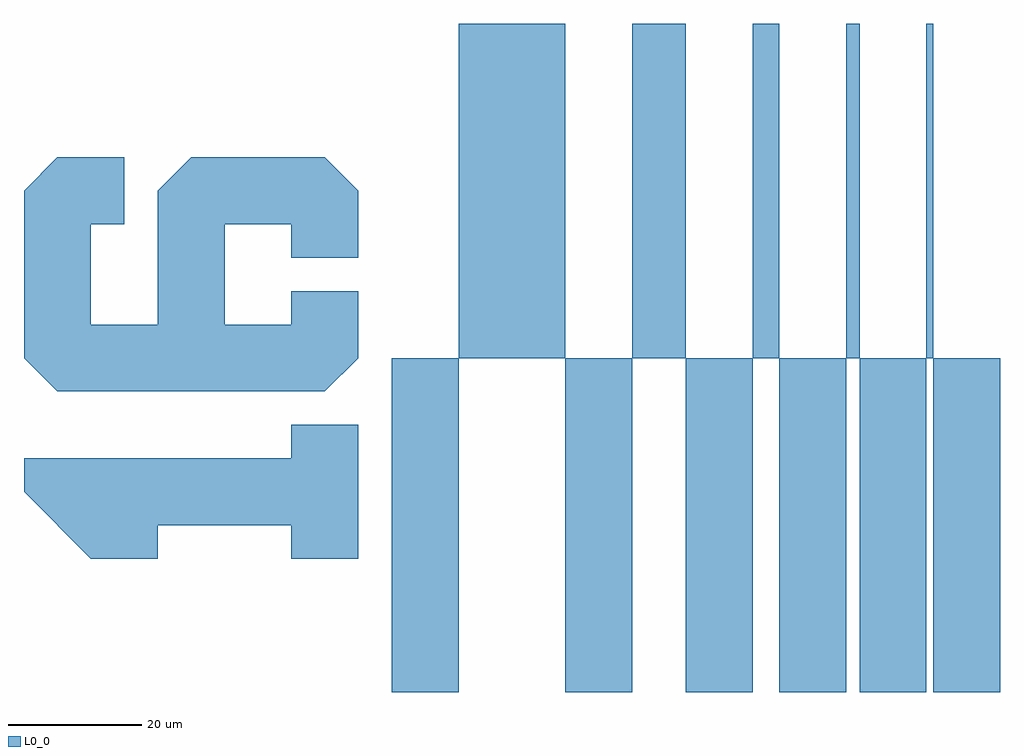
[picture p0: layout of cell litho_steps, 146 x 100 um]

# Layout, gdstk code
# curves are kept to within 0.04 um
import gdstk
lib = gdstk.Library(unit=1e-6, precision=1e-09)
def R(c, l, rs):  # rectangles x0, y0, x1, y1
    for r in rs: c.add(gdstk.rectangle(r[:2], r[2:], *l))
def P(c, l, *ps):  # polygons
    for p in ps: c.add(gdstk.Polygon(p, *l))
L0_0 = (0, 0)

litho_steps = lib.new_cell('litho_steps')
R(litho_steps, L0_0, [(0,-50,10,0), (26,-50,36,0), (44,-50,54,0), (58,-50,68,0), (70,-50,80,0), (81,-50,91,0), (10,0,26,50), (36,0,44,50), (54,0,58,50), (68,0,70,50), (80,0,81,50)])
P(litho_steps, L0_0, [(-35,-25),(-35,-30),(-45,-30),(-55,-20),(-55,-15),(-15,-15),(-15,-10),(-5,-10),(-5,-30),(-15,-30),(-15,-25)],
  [(-40,30),(-40,20),(-45,20),(-45,5),(-35,5),(-35,25),(-30,30),(-10,30),(-5,25),(-5,15),(-15,15),(-15,20),(-25,20),(-25,5),(-15,5),(-15,10),(-5,10),(-5,0),(-10,-5),(-50,-5),(-55,0),(-55,25),(-50,30)])

lib.write_gds('litho_steps.gds')
